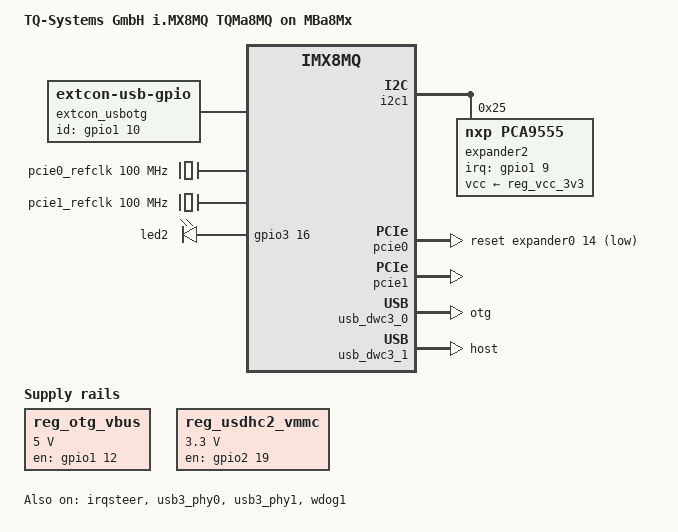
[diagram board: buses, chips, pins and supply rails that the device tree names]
// SPDX-License-Identifier: (GPL-2.0-or-later OR MIT)
/*
 * Copyright 2019-2021 TQ-Systems GmbH
 */

/dts-v1/;

#include "imx8mq-tqma8mq.dtsi"
#include "mba8mx.dtsi"

/ {
	model = "TQ-Systems GmbH i.MX8MQ TQMa8MQ on MBa8Mx";
	compatible = "tq,imx8mq-tqma8mq-mba8mx", "tq,imx8mq-tqma8mq", "fsl,imx8mq";

	aliases {
		eeprom0 = &eeprom3;
		mmc0 = &usdhc1;
		mmc1 = &usdhc2;
		rtc0 = &pcf85063;
		rtc1 = &snvs_rtc;
	};

	extcon_usbotg: extcon-usbotg0 {
		compatible = "linux,extcon-usb-gpio";
		pinctrl-names = "default";
		pinctrl-0 = <&pinctrl_usbcon0>;
		id-gpio = <&gpio1 10 GPIO_ACTIVE_HIGH>;
	};

	pcie0_refclk: pcie0-refclk {
		compatible = "fixed-clock";
		#clock-cells = <0>;
		clock-frequency = <100000000>;
	};

	pcie1_refclk: pcie1-refclk {
		compatible = "fixed-clock";
		#clock-cells = <0>;
		clock-frequency = <100000000>;
	};

	reg_otg_vbus: regulator-otg-vbus {
		compatible = "regulator-fixed";
		pinctrl-names = "default";
		pinctrl-0 = <&pinctrl_regotgvbus>;
		regulator-name = "MBA8MQ_OTG_VBUS";
		regulator-min-microvolt = <5000000>;
		regulator-max-microvolt = <5000000>;
		gpio = <&gpio1 12 GPIO_ACTIVE_HIGH>;
		enable-active-high;
	};

	reg_usdhc2_vmmc: regulator-vmmc {
		compatible = "regulator-fixed";
		regulator-name = "VSD_3V3";
		regulator-min-microvolt = <3300000>;
		regulator-max-microvolt = <3300000>;
		gpio = <&gpio2 19 GPIO_ACTIVE_HIGH>;
		enable-active-high;
	};
};

&btn2 {
	gpios = <&gpio3 17 GPIO_ACTIVE_LOW>;
};

&gpio_leds {
	led3 {
		label = "led3";
		gpios = <&gpio1 8 GPIO_ACTIVE_HIGH>;
	};
};

&i2c1 {
	expander2: gpio@25 {
		compatible = "nxp,pca9555";
		reg = <0x25>;
		gpio-controller;
		#gpio-cells = <2>;
		vcc-supply = <&reg_vcc_3v3>;
		pinctrl-names = "default";
		pinctrl-0 = <&pinctrl_expander>;
		interrupt-parent = <&gpio1>;
		interrupts = <9 IRQ_TYPE_EDGE_FALLING>;
		interrupt-controller;
		#interrupt-cells = <2>;

		mpcie-rst-hog {
			gpio-hog;
			gpios = <13 0>;
			output-high;
			line-name = "MPCIE_RST#";
		};
	};
};

&irqsteer {
	status = "okay";
};

&led2 {
	gpios = <&gpio3 16 GPIO_ACTIVE_HIGH>;
};

&pcie0 {
	reset-gpio = <&expander0 14 GPIO_ACTIVE_LOW>;
	clocks = <&clk IMX8MQ_CLK_PCIE1_ROOT>,
		 <&pcie0_refclk>,
		 <&clk IMX8MQ_CLK_PCIE1_PHY>,
		 <&clk IMX8MQ_CLK_PCIE1_AUX>;
	epdev_on-supply = <&reg_vcc_3v3>;
	hard-wired = <1>;
	status = "okay";
};

/*
 * miniPCIe, also usable for cards with USB. Therefore configure the reset as
 * static gpio hog.
 */
&pcie1 {
	clocks = <&clk IMX8MQ_CLK_PCIE2_ROOT>,
		 <&pcie1_refclk>,
		 <&clk IMX8MQ_CLK_PCIE2_PHY>,
		 <&clk IMX8MQ_CLK_PCIE2_AUX>;
	epdev_on-supply = <&reg_vcc_3v3>;
	hard-wired = <1>;
	status = "okay";
};

&sai3 {
	assigned-clocks = <&clk IMX8MQ_CLK_SAI3>;
	assigned-clock-parents = <&clk IMX8MQ_AUDIO_PLL1_OUT>;
	clock-names = "bus", "mclk0", "mclk1", "mclk2", "mclk3", "pll8k", "pll11k";
	clocks = <&clk IMX8MQ_CLK_SAI3_IPG>, <&clk IMX8MQ_CLK_DUMMY>,
		<&clk IMX8MQ_CLK_SAI3_ROOT>, <&clk IMX8MQ_CLK_DUMMY>,
		<&clk IMX8MQ_CLK_DUMMY>, <&clk IMX8MQ_AUDIO_PLL1_OUT>,
		<&clk IMX8MQ_AUDIO_PLL2_OUT>;
};

&tlv320aic3x04 {
	clock-names = "mclk";
	clocks = <&clk IMX8MQ_CLK_SAI3_ROOT>;
};

&uart1 {
	assigned-clocks = <&clk IMX8MQ_CLK_UART1>;
	assigned-clock-parents = <&clk IMX8MQ_SYS1_PLL_80M>;
};

&uart2 {
	assigned-clocks = <&clk IMX8MQ_CLK_UART2>;
	assigned-clock-parents = <&clk IMX8MQ_SYS1_PLL_80M>;
};

/* console */
&uart3 {
	assigned-clocks = <&clk IMX8MQ_CLK_UART3>;
	assigned-clock-parents = <&clk IMX8MQ_CLK_25M>;
};

&usb3_phy0 {
	vbus-supply = <&reg_otg_vbus>;
	status = "okay";
};

&usb_dwc3_0 {
	/* we implement dual role but not full featured OTG */
	extcon = <&extcon_usbotg>;
	hnp-disable;
	srp-disable;
	adp-disable;
	/* OC not supported due to non matching active polarity */
	disable-over-current;
	dr_mode = "otg";
	status = "okay";
};

&usb3_phy1 {
	status = "okay";
};

&usb_dwc3_1 {
	status = "okay";
	dr_mode = "host";
};

&wdog1 {
	pinctrl-names = "default";
	pinctrl-0 = <&pinctrl_wdog>;
	fsl,ext-reset-output;
	status = "okay";
};

&iomuxc {
	pinctrl_ecspi1: ecspi1grp {
		fsl,pins = <MX8MQ_IOMUXC_ECSPI1_SCLK_ECSPI1_SCLK	0x0000004e>,
			   <MX8MQ_IOMUXC_ECSPI1_MOSI_ECSPI1_MOSI	0x0000004e>,
			   <MX8MQ_IOMUXC_ECSPI1_MISO_ECSPI1_MISO	0x0000004e>,
			   <MX8MQ_IOMUXC_ECSPI1_SS0_GPIO5_IO9		0x0000004e>;
	};

	pinctrl_ecspi2: ecspi2grp {
		fsl,pins = <MX8MQ_IOMUXC_ECSPI2_SCLK_ECSPI2_SCLK	0x0000004e>,
			   <MX8MQ_IOMUXC_ECSPI2_MOSI_ECSPI2_MOSI	0x0000004e>,
			   <MX8MQ_IOMUXC_ECSPI2_MISO_ECSPI2_MISO	0x0000004e>,
			   <MX8MQ_IOMUXC_ECSPI2_SS0_GPIO5_IO13		0x0000004e>;
	};

	pinctrl_expander: expandergrp {
		fsl,pins = <MX8MQ_IOMUXC_GPIO1_IO09_GPIO1_IO9		0xd6>;
	};

	pinctrl_fec1: fec1grp {
		fsl,pins = <MX8MQ_IOMUXC_ENET_MDC_ENET1_MDC		0x3>,
			   <MX8MQ_IOMUXC_ENET_MDIO_ENET1_MDIO		0x23>,
			   <MX8MQ_IOMUXC_ENET_TD3_ENET1_RGMII_TD3	0x1f>,
			   <MX8MQ_IOMUXC_ENET_TD2_ENET1_RGMII_TD2	0x1f>,
			   <MX8MQ_IOMUXC_ENET_TD1_ENET1_RGMII_TD1	0x1f>,
			   <MX8MQ_IOMUXC_ENET_TD0_ENET1_RGMII_TD0	0x1f>,
			   <MX8MQ_IOMUXC_ENET_RD3_ENET1_RGMII_RD3	0x91>,
			   <MX8MQ_IOMUXC_ENET_RD2_ENET1_RGMII_RD2	0x91>,
			   <MX8MQ_IOMUXC_ENET_RD1_ENET1_RGMII_RD1	0x91>,
			   <MX8MQ_IOMUXC_ENET_RD0_ENET1_RGMII_RD0	0x91>,
			   <MX8MQ_IOMUXC_ENET_TXC_ENET1_RGMII_TXC	0x1f>,
			   <MX8MQ_IOMUXC_ENET_RXC_ENET1_RGMII_RXC	0x91>,
			   <MX8MQ_IOMUXC_ENET_RX_CTL_ENET1_RGMII_RX_CTL	0x91>,
			   <MX8MQ_IOMUXC_ENET_TX_CTL_ENET1_RGMII_TX_CTL	0x1f>;
	};

	pinctrl_gpiobutton: gpiobuttongrp {
		fsl,pins = <MX8MQ_IOMUXC_GPIO1_IO05_GPIO1_IO5		0x41>,
			   <MX8MQ_IOMUXC_GPIO1_IO07_GPIO1_IO7		0x41>,
			   <MX8MQ_IOMUXC_NAND_WE_B_GPIO3_IO17		0x41>;
	};

	pinctrl_gpioled: gpioledgrp {
		fsl,pins = <MX8MQ_IOMUXC_GPIO1_IO00_GPIO1_IO0		0x41>,
			   <MX8MQ_IOMUXC_GPIO1_IO08_GPIO1_IO8		0x41>,
			   <MX8MQ_IOMUXC_NAND_READY_B_GPIO3_IO16	0x41>;
	};

	pinctrl_i2c2: i2c2grp {
		fsl,pins = <MX8MQ_IOMUXC_I2C2_SCL_I2C2_SCL		0x40000067>,
			   <MX8MQ_IOMUXC_I2C2_SDA_I2C2_SDA		0x40000067>;
	};

	pinctrl_i2c2_gpio: i2c2gpiogrp {
		fsl,pins = <MX8MQ_IOMUXC_I2C2_SCL_GPIO5_IO16		0x40000067>,
			   <MX8MQ_IOMUXC_I2C2_SDA_GPIO5_IO17		0x40000067>;
	};

	pinctrl_i2c3: i2c3grp {
		fsl,pins = <MX8MQ_IOMUXC_I2C3_SCL_I2C3_SCL		0x40000067>,
			   <MX8MQ_IOMUXC_I2C3_SDA_I2C3_SDA		0x40000067>;
	};

	pinctrl_i2c3_gpio: i2c3gpiogrp {
		fsl,pins = <MX8MQ_IOMUXC_I2C3_SCL_GPIO5_IO18		0x40000067>,
			   <MX8MQ_IOMUXC_I2C3_SDA_GPIO5_IO19		0x40000067>;
	};

	pinctrl_pwm3: pwm3grp {
		fsl,pins = <MX8MQ_IOMUXC_GPIO1_IO14_PWM3_OUT		0x16>;
	};

	pinctrl_pwm4: pwm4grp {
		fsl,pins = <MX8MQ_IOMUXC_GPIO1_IO15_PWM4_OUT		0x16>;
	};

	pinctrl_regotgvbus: reggotgvbusgrp {
		/* USB1 OTG PWR as GPIO */
		fsl,pins = <MX8MQ_IOMUXC_GPIO1_IO12_GPIO1_IO12		0x06>;
	};

	pinctrl_reg_usdhc2_vmmc: regusdhc2vmmcgrp {
		fsl,pins = <MX8MQ_IOMUXC_SD2_RESET_B_GPIO2_IO19		0xc1>;
	};

	pinctrl_sai3: sai3grp {
		fsl,pins = <MX8MQ_IOMUXC_SAI3_MCLK_SAI3_MCLK		0xd6>,
			   <MX8MQ_IOMUXC_SAI3_RXC_SAI3_RX_BCLK		0xd6>,
			   <MX8MQ_IOMUXC_SAI3_RXFS_SAI3_RX_SYNC		0xd6>,
			   <MX8MQ_IOMUXC_SAI3_RXD_SAI3_RX_DATA0		0xd6>,
			   <MX8MQ_IOMUXC_SAI3_TXFS_SAI3_TX_SYNC		0xd6>,
			   <MX8MQ_IOMUXC_SAI3_TXD_SAI3_TX_DATA0		0xd6>,
			   <MX8MQ_IOMUXC_SAI3_TXC_SAI3_TX_BCLK		0xd6>;
	};

	pinctrl_uart1: uart1grp {
		fsl,pins = <MX8MQ_IOMUXC_UART1_RXD_UART1_DCE_RX		0x79>,
			   <MX8MQ_IOMUXC_UART1_TXD_UART1_DCE_TX		0x79>;
	};

	pinctrl_uart2: uart2grp {
		fsl,pins = <MX8MQ_IOMUXC_UART2_RXD_UART2_DCE_RX		0x79>,
			   <MX8MQ_IOMUXC_UART2_TXD_UART2_DCE_TX		0x79>;
	};

	pinctrl_uart3: uart3grp {
		fsl,pins = <MX8MQ_IOMUXC_UART3_RXD_UART3_DCE_RX		0x79>,
			   <MX8MQ_IOMUXC_UART3_TXD_UART3_DCE_TX		0x79>;
	};

	pinctrl_uart4: uart4grp {
		fsl,pins = <MX8MQ_IOMUXC_UART4_RXD_UART4_DCE_RX		0x79>,
			   <MX8MQ_IOMUXC_UART4_TXD_UART4_DCE_TX		0x79>;
	};

	pinctrl_usbcon0: usb0congrp {
		/* ID: floating / high: device, low: host -> use PU */
		fsl,pins = <MX8MQ_IOMUXC_GPIO1_IO10_GPIO1_IO10		0xe6>;
	};

	pinctrl_usdhc2: usdhc2grp {
		fsl,pins = <MX8MQ_IOMUXC_SD2_CLK_USDHC2_CLK		0x83>,
			   <MX8MQ_IOMUXC_SD2_CMD_USDHC2_CMD		0xc3>,
			   <MX8MQ_IOMUXC_SD2_DATA0_USDHC2_DATA0		0xc3>,
			   <MX8MQ_IOMUXC_SD2_DATA1_USDHC2_DATA1		0xc3>,
			   <MX8MQ_IOMUXC_SD2_DATA2_USDHC2_DATA2		0xc3>,
			   <MX8MQ_IOMUXC_SD2_DATA3_USDHC2_DATA3		0xc3>,
			   <MX8MQ_IOMUXC_GPIO1_IO04_USDHC2_VSELECT	0xc1>;
	};

	pinctrl_usdhc2_100mhz: usdhc2-100mhzgrp {
		fsl,pins = <MX8MQ_IOMUXC_SD2_CLK_USDHC2_CLK		0x85>,
			   <MX8MQ_IOMUXC_SD2_CMD_USDHC2_CMD		0xc5>,
			   <MX8MQ_IOMUXC_SD2_DATA0_USDHC2_DATA0		0xc5>,
			   <MX8MQ_IOMUXC_SD2_DATA1_USDHC2_DATA1		0xc5>,
			   <MX8MQ_IOMUXC_SD2_DATA2_USDHC2_DATA2		0xc5>,
			   <MX8MQ_IOMUXC_SD2_DATA3_USDHC2_DATA3		0xc5>,
			   <MX8MQ_IOMUXC_GPIO1_IO04_USDHC2_VSELECT	0xc1>;
	};

	pinctrl_usdhc2_200mhz: usdhc2-200mhzgrp {
		fsl,pins = <MX8MQ_IOMUXC_SD2_CLK_USDHC2_CLK		0x9f>,
			   <MX8MQ_IOMUXC_SD2_CMD_USDHC2_CMD		0xc7>,
			   <MX8MQ_IOMUXC_SD2_DATA0_USDHC2_DATA0		0xc7>,
			   <MX8MQ_IOMUXC_SD2_DATA1_USDHC2_DATA1		0xc7>,
			   <MX8MQ_IOMUXC_SD2_DATA2_USDHC2_DATA2		0xc7>,
			   <MX8MQ_IOMUXC_SD2_DATA3_USDHC2_DATA3		0xc7>,
			   <MX8MQ_IOMUXC_GPIO1_IO04_USDHC2_VSELECT	0xc1>;
	};

	pinctrl_usdhc2_gpio: usdhc2-gpiogrp {
		fsl,pins = <MX8MQ_IOMUXC_SD2_CD_B_GPIO2_IO12		0x41>;
	};
};
